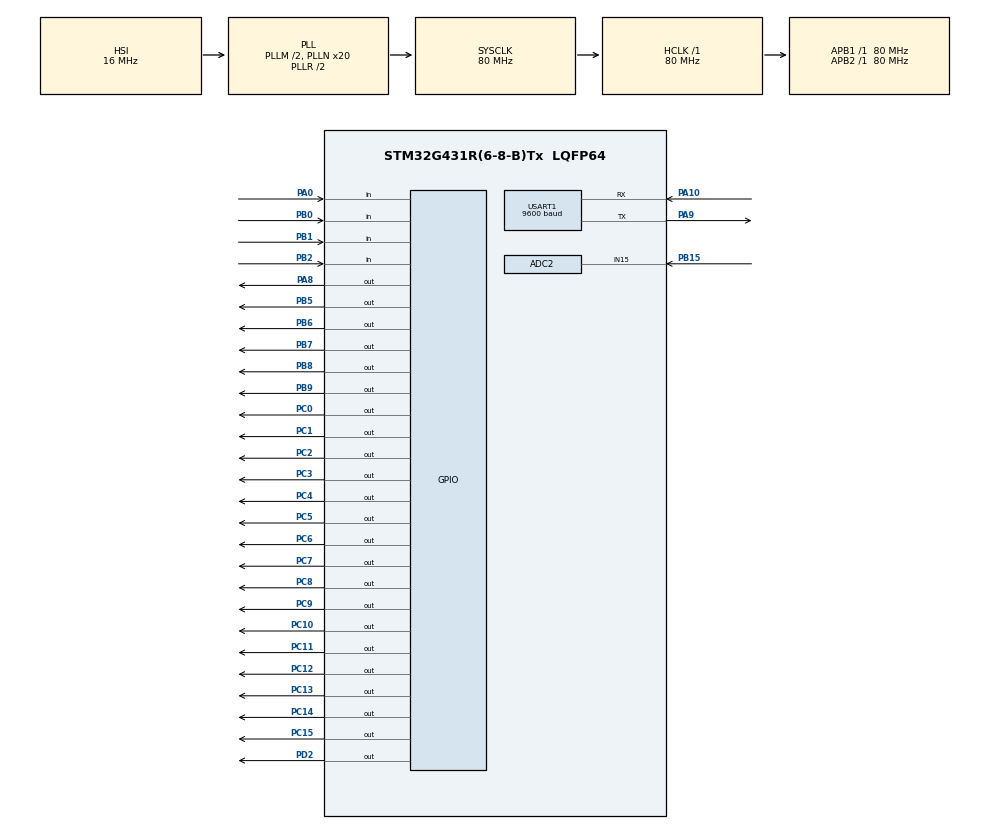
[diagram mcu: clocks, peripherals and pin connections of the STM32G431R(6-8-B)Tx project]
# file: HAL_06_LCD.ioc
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ADC2.Channel-0\#ChannelRegularConversion=ADC_CHANNEL_15
ADC2.NbrOfConversionFlag=1
ADC2.OffsetNumber-0\#ChannelRegularConversion=ADC_OFFSET_NONE
ADC2.Rank-0\#ChannelRegularConversion=1
ADC2.SamplingTime-0\#ChannelRegularConversion=ADC_SAMPLETIME_2CYCLES_5
Mcu.Family=STM32G4
Mcu.Name=STM32G431R(6-8-B)Tx
Mcu.Package=LQFP64
NVIC.PriorityGroup=NVIC_PRIORITYGROUP_4
NVIC.TIM3_IRQn=true\:0\:0\:false\:false\:true\:true\:true\:true
NVIC.TIM4_IRQn=true\:0\:0\:false\:false\:true\:true\:true\:true
NVIC.USART1_IRQn=true\:0\:0\:false\:false\:true\:true\:true\:true
PA0.GPIO_Mode=GPIO_MODE_INPUT
PA0.GPIO_PuPd=GPIO_PULLUP
PA0.Signal=GPIO_Input
PA10.Mode=Asynchronous
PA10.Signal=USART1_RX
PA8.Signal=GPIO_Output
PA9.Mode=Asynchronous
PA9.Signal=USART1_TX
PB0.GPIO_Mode=GPIO_MODE_INPUT
PB0.GPIO_PuPd=GPIO_PULLUP
PB0.Signal=GPIO_Input
PB1.GPIO_Mode=GPIO_MODE_INPUT
PB1.GPIO_PuPd=GPIO_PULLUP
PB1.Signal=GPIO_Input
PB15.Mode=IN15-Single-Ended
PB15.Signal=ADC2_IN15
PB2.GPIO_Mode=GPIO_MODE_INPUT
PB2.GPIO_PuPd=GPIO_PULLUP
PB2.Signal=GPIO_Input
PB5.Signal=GPIO_Output
PB6.Signal=GPIO_Output
PB7.Signal=GPIO_Output
PB8-BOOT0.Signal=GPIO_Output
PB9.Signal=GPIO_Output
PC0.Signal=GPIO_Output
PC1.Signal=GPIO_Output
PC10.Signal=GPIO_Output
PC11.Signal=GPIO_Output
PC12.Signal=GPIO_Output
PC13.Signal=GPIO_Output
PC14-OSC32_IN.Signal=GPIO_Output
PC15-OSC32_OUT.Signal=GPIO_Output
PC2.Signal=GPIO_Output
PC3.Signal=GPIO_Output
PC4.Signal=GPIO_Output
PC5.Signal=GPIO_Output
PC6.Signal=GPIO_Output
PC7.Signal=GPIO_Output
PC8.Signal=GPIO_Output
PC9.Signal=GPIO_Output
PD2.Signal=GPIO_Output
PF0-OSC_IN.Mode=HSE-External-Oscillator
PF0-OSC_IN.Signal=RCC_OSC_IN
PF1-OSC_OUT.Mode=HSE-External-Oscillator
PF1-OSC_OUT.Signal=RCC_OSC_OUT
ProjectManager.HeapSize=0x200
ProjectManager.StackSize=0x400
ProjectManager.TargetToolchain=MDK-ARM V5.27
RCC.ADC12Freq_Value=80000000
RCC.AHBFreq_Value=80000000
RCC.APB1Freq_Value=80000000
RCC.APB1TimFreq_Value=80000000
RCC.APB2Freq_Value=80000000
RCC.APB2TimFreq_Value=80000000
RCC.CortexFreq_Value=80000000
RCC.EXTERNAL_CLOCK_VALUE=12288000
RCC.HCLKFreq_Value=80000000
RCC.HSE_VALUE=24000000
RCC.HSI48_VALUE=48000000
RCC.HSI_VALUE=16000000
RCC.LSE_VALUE=32768
RCC.PLLM=RCC_PLLM_DIV2
RCC.PLLN=20
RCC.SYSCLKFreq_VALUE=80000000
RCC.SYSCLKSource=RCC_SYSCLKSOURCE_PLLCLK
RCC.USBFreq_Value=80000000
RCC.VCOOutputFreq_Value=160000000
TIM3.PeriodNoDither=10000-1
TIM3.Prescaler=80-1
TIM4.PeriodNoDither=1000-1
TIM4.Prescaler=80-1
USART1.BaudRate=9600
USART1.VirtualMode-Asynchronous=VM_ASYNC
VP_SYS_VS_DBSignals.Mode=DisableDeadBatterySignals
VP_TIM3_VS_ClockSourceINT.Mode=Internal
VP_TIM4_VS_ClockSourceINT.Mode=Internal
board=custom

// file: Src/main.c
/* USER CODE BEGIN Header */
/**
  ******************************************************************************
  * @file           : main.c
  * @brief          : Main program body
  ******************************************************************************
  * @attention
  *
  * <h2><center>&copy; Copyright (c) 2021 STMicroelectronics.
  * All rights reserved.</center></h2>
  *
  * This software component is licensed by ST under BSD 3-Clause license,
  * the "License"; You may not use this file except in compliance with the
  * License. You may obtain a copy of the License at:
  *                        opensource.org/licenses/BSD-3-Clause
  *
  ******************************************************************************
  */
/* USER CODE END Header */
#include "main.h"
#include "adc.h"
#include "tim.h"
#include "usart.h"
#include "gpio.h"

/* USER CODE BEGIN PV */
extern keys key[4];
bool view=0;

uint8_t th1=30;
uint8_t th2=50;
uint8_t th3=70;
uint8_t th1_temp;
uint8_t th2_temp;
uint8_t th3_temp;
uint8_t whichth=0;

uint8_t level=0;
float adc_value=0;
uint8_t height=0;
uint8_t level_temp;
uint8_t level_flag=0;

extern char rxdata[30];
extern uint8_t rxtemp;
extern uint8_t rxpointer;

extern uint16_t count;
bool ld2_flag=0;
extern uint16_t ld2_cnt;
extern uint8_t ld2_cntt;

bool chaxun_flag=0;
bool ld3_flag=0;
extern uint16_t ld3_cnt;
extern uint8_t ld3_cntt;
/* USER CODE END PV */

void SystemClock_Config(void);
/* USER CODE BEGIN PFP */
void disp_proc(void);
void key_proc(void);
void rx_proc(void);
void tx_proc(void);
void led_proc(void);
/* USER CODE END PFP */

int main(void)
{

  /* MCU Configuration--------------------------------------------------------*/

  /* Reset of all peripherals, Initializes the Flash interface and the Systick. */
  HAL_Init();

  /* Configure the system clock */
  SystemClock_Config();

  /* Initialize all configured peripherals */
  MX_GPIO_Init();
  MX_ADC2_Init();
  MX_TIM3_Init();
  MX_USART1_UART_Init();
  MX_TIM4_Init();
  /* USER CODE BEGIN 2 */

	LCD_Init();
	HAL_TIM_Base_Start_IT(&htim3);
	HAL_TIM_Base_Start_IT(&htim4);
	HAL_UART_Receive_IT(&huart1, &rxtemp, 1);

  /* USER CODE END 2 */

  /* Infinite loop */
  /* USER CODE BEGIN WHILE */

	LCD_Clear(Black);
	LCD_SetBackColor(Black);
	LCD_SetTextColor(White);

	th1=eeprom_read(0x01);
	th2=eeprom_read(0x02);
	th3=eeprom_read(0x03);

//
//	HAL_ADC_Start(&hadc2);
	for(int i=0;i<20;i++)
		adc_value=get_adc(&hadc2);
	height=(int)(adc_value/3.3*100)/1;
	if(height<=th1)
			level_temp=0;
		else if((height>th1)&&(height<=th2))
			level_temp=1;
		else if((height>th2)&&(height<=th3))
			level_temp=2;
		else if(height>th3)
			level_temp=3;
//

//	led_init();
  while (1)
  {
    /* USER CODE END WHILE */

    /* USER CODE BEGIN 3 */
	  disp_proc();
		led_proc();
		tx_proc();
		key_proc();

		if(rxpointer!=0)
		{
			uint8_t temp;
			temp=rxpointer;
			HAL_Delay(1);
			if(temp==rxpointer)
				rx_proc();
		}

  }
  /* USER CODE END 3 */
}

void SystemClock_Config(void)
{
  RCC_OscInitTypeDef RCC_OscInitStruct = {0};
  RCC_ClkInitTypeDef RCC_ClkInitStruct = {0};

  /** Configure the main internal regulator output voltage
  */
  HAL_PWREx_ControlVoltageScaling(PWR_REGULATOR_VOLTAGE_SCALE1);

  /** Initializes the RCC Oscillators according to the specified parameters
  * in the RCC_OscInitTypeDef structure.
  */
  RCC_OscInitStruct.OscillatorType = RCC_OSCILLATORTYPE_HSI;
  RCC_OscInitStruct.HSIState = RCC_HSI_ON;
  RCC_OscInitStruct.HSICalibrationValue = RCC_HSICALIBRATION_DEFAULT;
  RCC_OscInitStruct.PLL.PLLState = RCC_PLL_ON;
  RCC_OscInitStruct.PLL.PLLSource = RCC_PLLSOURCE_HSI;
  RCC_OscInitStruct.PLL.PLLM = RCC_PLLM_DIV2;
  RCC_OscInitStruct.PLL.PLLN = 20;
  RCC_OscInitStruct.PLL.PLLP = RCC_PLLP_DIV2;
  RCC_OscInitStruct.PLL.PLLQ = RCC_PLLQ_DIV2;
  RCC_OscInitStruct.PLL.PLLR = RCC_PLLR_DIV2;
  if (HAL_RCC_OscConfig(&RCC_OscInitStruct) != HAL_OK)
  {
    Error_Handler();
  }

  /** Initializes the CPU, AHB and APB buses clocks
  */
  RCC_ClkInitStruct.ClockType = RCC_CLOCKTYPE_HCLK|RCC_CLOCKTYPE_SYSCLK
                              |RCC_CLOCKTYPE_PCLK1|RCC_CLOCKTYPE_PCLK2;
  RCC_ClkInitStruct.SYSCLKSource = RCC_SYSCLKSOURCE_PLLCLK;
  RCC_ClkInitStruct.AHBCLKDivider = RCC_SYSCLK_DIV1;
  RCC_ClkInitStruct.APB1CLKDivider = RCC_HCLK_DIV1;
  RCC_ClkInitStruct.APB2CLKDivider = RCC_HCLK_DIV1;

  if (HAL_RCC_ClockConfig(&RCC_ClkInitStruct, FLASH_LATENCY_2) != HAL_OK)
  {
    Error_Handler();
  }
}

/* USER CODE BEGIN 4 */
void disp_proc()
{
	if(view==0)
	{
		adc_value=get_adc(&hadc2);
		char text[20];
		sprintf(text,"     Liquid Level      ");
		LCD_DisplayStringLine(Line1, (uint8_t *)text);
		height=(int)(adc_value/3.3*100)/1;
		sprintf(text,"   Height:%dcm        ",height);
		LCD_DisplayStringLine(Line3, (uint8_t *)text);
		sprintf(text,"   ADC:%.2fV           ",adc_value);
		LCD_DisplayStringLine(Line4, (uint8_t *)text);
		if(height<=th1)
			level=0;
		else if((height>th1)&&(height<=th2))
			level=1;
		else if((height>th2)&&(height<=th3))
			level=2;
		else if(height>th3)
			level=3;
		if(level_temp>level)//down
			level_flag=1;
		else if(level_temp<level)//up
			level_flag=2;
		level_temp=level;
		sprintf(text,"   Level:%d         ",level);
		LCD_DisplayStringLine(Line5, (uint8_t *)text);
	}
	if(view==1)
	{
		char text[20];
		sprintf(text,"     Parameter Setup      ");
		LCD_DisplayStringLine(Line1, (uint8_t *)text);
		switch(whichth)
		{
			case 0:
			{
				LCD_SetTextColor(Green);
				sprintf(text,"   Threshold 1:%d         ",th1_temp);
				LCD_DisplayStringLine(Line3, (uint8_t *)text);
				LCD_SetTextColor(White);
				sprintf(text,"   Threshold 2:%d         ",th2_temp);
				LCD_DisplayStringLine(Line4, (uint8_t *)text);
				sprintf(text,"   Threshold 3:%d         ",th3_temp);
				LCD_DisplayStringLine(Line5, (uint8_t *)text);
			};break;
			case 1:
			{
				sprintf(text,"   Threshold 1:%d         ",th1_temp);
				LCD_DisplayStringLine(Line3, (uint8_t *)text);
				LCD_SetTextColor(Green);
				sprintf(text,"   Threshold 2:%d         ",th2_temp);
				LCD_DisplayStringLine(Line4, (uint8_t *)text);
				LCD_SetTextColor(White);
				sprintf(text,"   Threshold 3:%d         ",th3_temp);
				LCD_DisplayStringLine(Line5, (uint8_t *)text);
			};break;
			case 2:
			{
				sprintf(text,"   Threshold 1:%d         ",th1_temp);
				LCD_DisplayStringLine(Line3, (uint8_t *)text);
				sprintf(text,"   Threshold 2:%d         ",th2_temp);
				LCD_DisplayStringLine(Line4, (uint8_t *)text);
				LCD_SetTextColor(Green);
				sprintf(text,"   Threshold 3:%d         ",th3_temp);
				LCD_DisplayStringLine(Line5, (uint8_t *)text);
				LCD_SetTextColor(White);
			};break;
		}
	}
}

void key_proc()
{
	if(key[0].key_single==1)
	{
		if(view==0)
		{
			whichth=0;
			th1_temp=th1;
			th2_temp=th2;
			th3_temp=th3;
			view=1;
		}
		else
		{
			th1=th1_temp;
			th2=th2_temp;
			th3=th3_temp;
			eeprom_write(0x01,th1);
			HAL_Delay(10);
			eeprom_write(0x02,th2);
			HAL_Delay(10);
			eeprom_write(0x03,th3);
			HAL_Delay(10);
			view=0;
		}
		key[0].key_single=0;
	}
	if(key[1].key_single==1)
	{
		if(view==1)
		{
			if(++whichth==3)
				whichth=0;
		}
		key[1].key_single=0;
	}
	if(key[2].key_single==1)
	{
		if(view==1)
		{
			switch(whichth)
			{
				case 0:
				{
					th1_temp+=5;
					if(th1_temp>95)
						th1_temp=95;
				};break;
				case 1:
				{
					th2_temp+=5;
					if(th2_temp>95)
						th2_temp=95;
				};break;
				case 2:
				{
					th3_temp+=5;
					if(th3_temp>95)
						th3_temp=95;
				};break;
			}
		}
		key[2].key_single=0;
	}
	if(key[3].key_single==1)
	{
		if(view==1)
		{
			switch(whichth)
			{
				case 0:
				{
					th1_temp-=5;
					if(th1_temp<5)
						th1_temp=5;
				};break;
				case 1:
				{
					th2_temp-=5;
					if(th2_temp<5)
						th2_temp=5;
				};break;
				case 2:
				{
					th3_temp-=5;
					if(th3_temp<5)
						th3_temp=5;
				};break;
			}
		}
		key[3].key_single=0;
	}
}

void rx_proc()
{
	if(rxpointer==1)
	{
		if(rxdata[0]=='C')
		{
			char text[30];
			sprintf(text,"C:H%d+L%d\r\n",height,level);
			HAL_UART_Transmit(&huart1, (uint8_t *)text, strlen(text), 50);
			chaxun_flag=1;
		}
		if(rxdata[0]=='S')
		{
			char text[30];
			sprintf(text,"S:TL%d+TM%d+TH%d\r\n",th1,th2,th3);
			HAL_UART_Transmit(&huart1, (uint8_t *)text, strlen(text), 50);
			chaxun_flag=1;
		}
	}
	rxpointer=0;
	memset(rxdata,0,30);
}

void tx_proc()
{
	if(level_flag==1)
	{
		char text[30];
		sprintf(text,"A:H%d+L%d+D\r\n",height,level);
		HAL_UART_Transmit(&huart1, (uint8_t *)text, strlen(text), 50);
	}
	else if(level_flag==2)
	{
		char text[30];
		sprintf(text,"A:H%d+L%d+U\r\n",height,level);
		HAL_UART_Transmit(&huart1, (uint8_t *)text, strlen(text), 50);
	}
	level_flag=0;
}

void led_proc()
{
	led_init();
	ld1(count>=1000);
	if(level_flag!=0)
	{
		ld2_cnt=0;
		ld2_cntt=0;
		ld2_flag=1;
	}
	ld2(ld2_cnt>=200);
	if(chaxun_flag==1)
	{
		ld3_cnt=0;
		ld3_cntt=0;
		ld3_flag=1;
		chaxun_flag=0;
	}
	ld3(ld3_cnt>=200);
}
/* USER CODE END 4 */

void Error_Handler(void)
{
}
